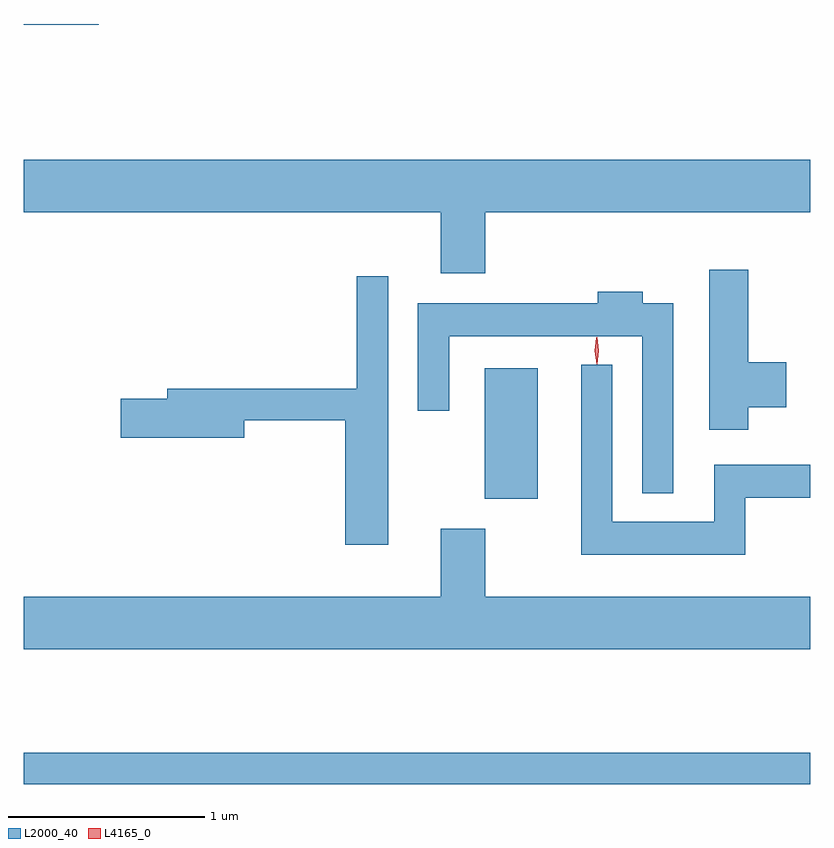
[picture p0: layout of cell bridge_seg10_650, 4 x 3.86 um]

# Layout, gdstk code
import gdstk
lib = gdstk.Library(unit=1e-6, precision=1e-09)
def R(c, l, rs):  # rectangles x0, y0, x1, y1
    for r in rs: c.add(gdstk.rectangle(r[:2], r[2:], *l))
def P(c, l, *ps):  # polygons
    for p in ps: c.add(gdstk.Polygon(p, *l))
L2000_40 = (2000, 40)
L4165_0 = (4165, 0)

bridge_seg10_650 = lib.new_cell('bridge_seg10_650')
R(bridge_seg10_650, L2000_40, [(947.741,2113.231,951.741,2113.389), (950.086,2114.681,950.354,2115.344), (947.741,2117.091,948.124,2117.094)])
P(bridge_seg10_650, L2000_40, [(950.089,2116.136),(951.741,2116.136),(951.741,2116.404),(947.741,2116.404),(947.741,2116.136),(949.861,2116.136),(949.861,2115.826),(950.089,2115.826)],
  [(951.424,2115.146),(951.619,2115.146),(951.619,2115.374),(951.424,2115.374),(951.424,2115.844),(951.226,2115.844),(951.226,2115.031),(951.424,2115.031)],
  [(949.594,2115.813),(949.436,2115.813),(949.436,2115.239),(948.471,2115.239),(948.471,2115.189),(948.236,2115.189),(948.236,2114.991),(948.864,2114.991),(948.864,2115.081),(949.376,2115.081),(949.376,2114.446),(949.594,2114.446)],
  [(951.044,2115.674),(950.889,2115.674),(950.889,2115.734),(950.661,2115.734),(950.661,2115.674),(949.746,2115.674),(949.746,2115.128),(949.904,2115.128),(949.904,2115.506),(950.886,2115.506),(950.886,2114.708),(951.044,2114.708)],
  [(951.409,2114.686),(951.741,2114.686),(951.741,2114.854),(951.251,2114.854),(951.251,2114.564),(950.734,2114.564),(950.734,2115.363),(950.576,2115.363),(950.576,2114.396),(951.409,2114.396)],
  [(951.741,2114.184),(950.089,2114.184),(950.089,2114.529),(949.861,2114.529),(949.861,2114.184),(947.741,2114.184),(947.741,2113.916),(951.741,2113.916)])
P(bridge_seg10_650, L4165_0, [(950.654,2115.367),(950.654,2115.367),(950.644,2115.434),(950.653,2115.5),(950.654,2115.5),(950.654,2115.5),(950.664,2115.434),(950.655,2115.367)],
  [(950.654,2115.364),(950.645,2115.434),(950.654,2115.502),(950.655,2115.503),(950.656,2115.502),(950.665,2115.434),(950.656,2115.364),(950.655,2115.364)])

lib.write_gds('bridge_seg10_650.gds')
